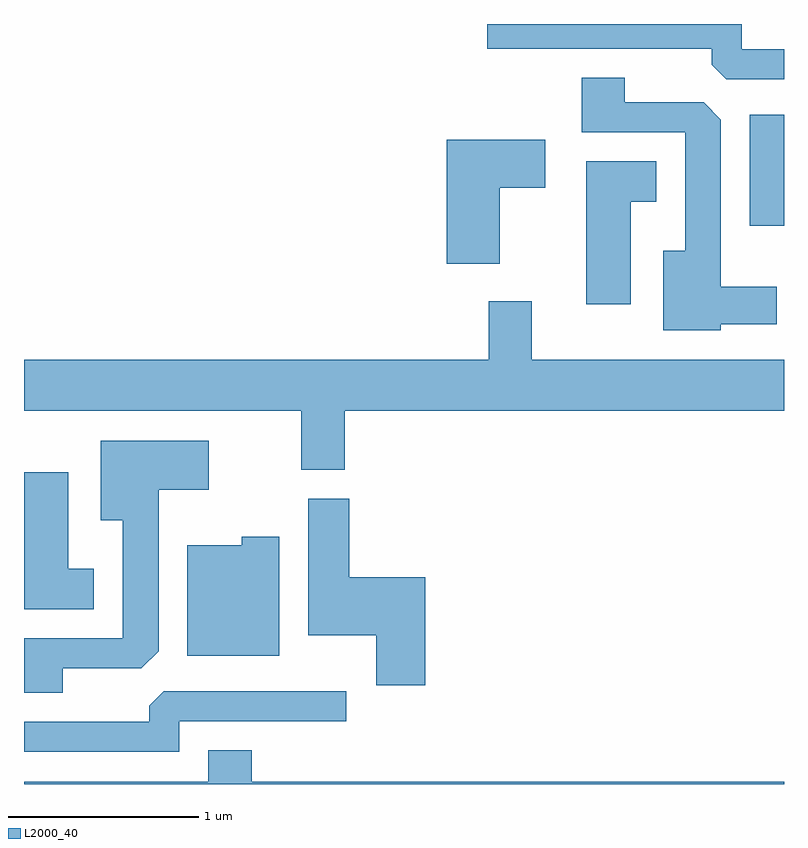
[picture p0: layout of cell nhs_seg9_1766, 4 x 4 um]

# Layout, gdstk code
import gdstk
lib = gdstk.Library(unit=1e-6, precision=1e-09)
def R(c, l, rs):  # rectangles x0, y0, x1, y1
    for r in rs: c.add(gdstk.rectangle(r[:2], r[2:], *l))
def P(c, l, *ps):  # polygons
    for p in ps: c.add(gdstk.Polygon(p, *l))
L2000_40 = (2000, 40)

nhs_seg9_1766 = lib.new_cell('nhs_seg9_1766')
R(nhs_seg9_1766, L2000_40, [(239.431,2079.371,239.611,2079.954)])
P(nhs_seg9_1766, L2000_40, [(239.611,2080.299),(239.389,2080.299),(239.389,2080.432),(238.048,2080.432),(238.048,2080.301),(239.231,2080.301),(239.231,2080.217),(239.307,2080.141),(239.611,2080.141)],
  [(239.279,2078.851),(239.574,2078.851),(239.574,2079.049),(239.279,2079.049),(239.279,2079.929),(239.189,2080.019),(238.774,2080.019),(238.774,2080.149),(238.546,2080.149),(238.546,2079.861),(239.091,2079.861),(239.091,2079.239),(238.976,2079.239),(238.976,2078.821),(239.279,2078.821)],
  [(238.114,2079.571),(238.354,2079.571),(238.354,2079.824),(237.836,2079.824),(237.836,2079.171),(238.114,2079.171)],
  [(238.804,2079.496),(238.939,2079.496),(238.939,2079.709),(238.571,2079.709),(238.571,2078.956),(238.804,2078.956)],
  [(237.299,2078.396),(239.611,2078.396),(239.611,2078.664),(238.284,2078.664),(238.284,2078.974),(238.056,2078.974),(238.056,2078.664),(235.611,2078.664),(235.611,2078.396),(237.071,2078.396),(237.071,2078.086),(237.299,2078.086)],
  [(235.814,2077.041),(236.229,2077.041),(236.319,2077.132),(236.319,2077.981),(236.584,2077.981),(236.584,2078.239),(236.016,2078.239),(236.016,2077.821),(236.131,2077.821),(236.131,2077.199),(235.611,2077.199),(235.611,2076.911),(235.814,2076.911)],
  [(235.979,2077.564),(235.844,2077.564),(235.844,2078.074),(235.611,2078.074),(235.611,2077.351),(235.979,2077.351)],
  [(237.724,2077.519),(237.324,2077.519),(237.324,2077.934),(237.106,2077.934),(237.106,2077.216),(237.466,2077.216),(237.466,2076.951),(237.724,2076.951)],
  [(236.954,2077.734),(236.756,2077.734),(236.756,2077.689),(236.471,2077.689),(236.471,2077.106),(236.954,2077.106)],
  [(236.429,2076.761),(237.308,2076.761),(237.308,2076.919),(236.347,2076.919),(236.271,2076.844),(236.271,2076.759),(235.611,2076.759),(235.611,2076.601),(236.429,2076.601)],
  [(239.611,2076.444),(236.809,2076.444),(236.809,2076.609),(236.581,2076.609),(236.581,2076.444),(235.611,2076.444),(235.611,2076.432),(239.611,2076.432)])

lib.write_gds('nhs_seg9_1766.gds')
